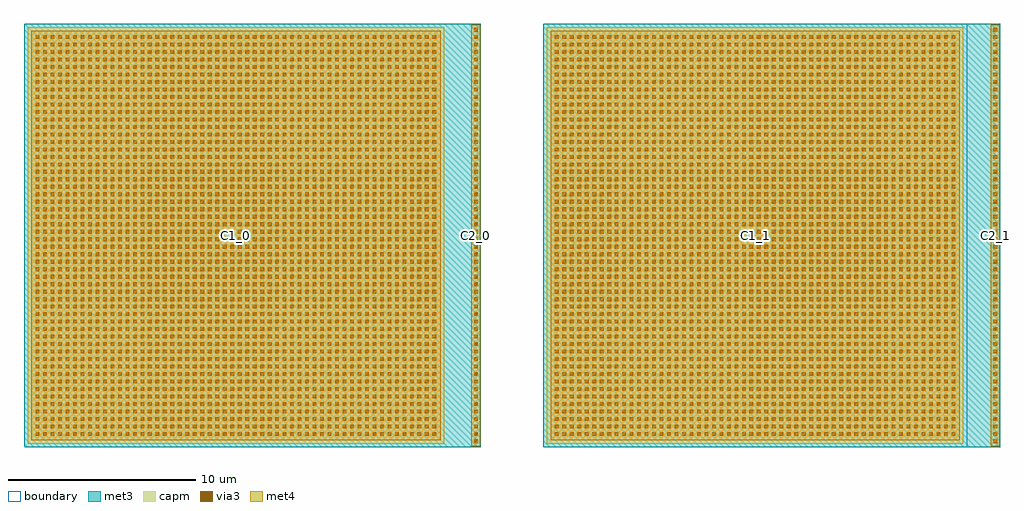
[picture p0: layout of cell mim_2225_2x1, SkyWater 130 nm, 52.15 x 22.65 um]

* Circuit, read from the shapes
.subckt mim_2225_2x1 C1_0 C1_1 C2_0 C2_1
XC1 C1_0 C2_0 sky130_fd_pr__cap_mim_m3_1 w=22.25 l=22.25
XC2 C1_1 C2_1 sky130_fd_pr__cap_mim_m3_1 w=22.25 l=22.25
.ends

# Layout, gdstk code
import gdstk
lib = gdstk.Library(unit=1e-6, precision=1e-09)
def R(c, l, rs):  # rectangles x0, y0, x1, y1
    for r in rs: c.add(gdstk.rectangle(r[:2], r[2:], *l))
def A(c, l, x, y, w, h, nx, ny, dx, dy):  # array of equal rectangles
    R(c, l, [(x+i*dx, y+j*dy, x+i*dx+w, y+j*dy+h) for i in range(nx) for j in range(ny)])
met3 = (70, 20)
via3 = (70, 44)
met4 = (71, 20)
capm = (89, 44)
boundary = (235, 4)

mim_2225_2x1 = lib.new_cell('mim_2225_2x1')
R(mim_2225_2x1, met3, [(-26.075,-11.325,-1.665,11.325), (1.665,-11.325,26.075,11.325)])
A(mim_2225_2x1, via3, -2.025, -11.1, 0.2, 0.2, 1, 56, 0, 0.4)
A(mim_2225_2x1, via3, 25.715, -11.1, 0.2, 0.2, 1, 56, 0, 0.4)
A(mim_2225_2x1, via3, -25.45, -10.7, 0.2, 0.2, 54, 54, 0.4, 0.4)
A(mim_2225_2x1, via3, 2.29, -10.7, 0.2, 0.2, 54, 54, 0.4, 0.4)
R(mim_2225_2x1, met4, [(-2.165,-11.265,-1.685,11.265), (25.575,-11.265,26.055,11.265), (-25.68,-10.93,-3.82,10.93), (2.06,-10.93,23.92,10.93)])
R(mim_2225_2x1, capm, [(-25.875,-11.125,-3.625,11.125), (1.865,-11.125,24.115,11.125)])
R(mim_2225_2x1, boundary, [(1.665,-11.325,24.315,11.325)])
mim_2225_2x1.add(gdstk.Label('C2_0', (-1.925,0), layer=71, texttype=5))
mim_2225_2x1.add(gdstk.Label('C1_0', (-14.75,0), layer=71, texttype=5))
mim_2225_2x1.add(gdstk.Label('C2_1', (25.815,0), layer=71, texttype=5))
mim_2225_2x1.add(gdstk.Label('C1_1', (12.99,0), layer=71, texttype=5))

lib.write_gds('mim_2225_2x1.gds')
